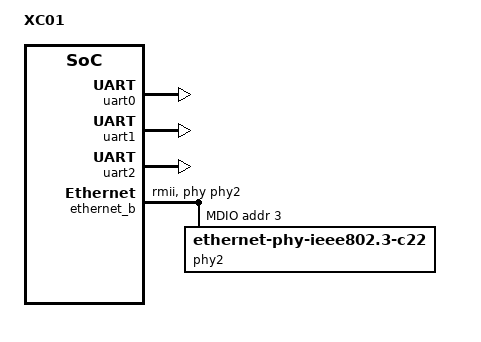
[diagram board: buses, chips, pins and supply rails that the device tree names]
/*
 * molchip
 *
 * Cortex-A7 MPCore
 *
 * HBI-0225B
 */

#include <dt-bindings/interrupt-controller/arm-gic.h>
#include <dt-bindings/clock/xc-clock.h>
#include <dt-bindings/input/input.h>
#include <dt-bindings/pinctrl/mcxc01-pinfunc.h>
#include <dt-bindings/pinctrl/mcxcxx.h>
//#include <dt-bindings/reset/xc01-reset.h>
//#include <dt-bindings/dma/molchip,xc01-dma.h>
#include <dt-bindings/net/molchip-ephy.h>

/ {
	model = "XC01";
	compatible = "arm,molchip,xc01", "arm,molchip";
	interrupt-parent = <&gic>;
	#address-cells = <1>;
	#size-cells = <1>;

	chosen {
		bootargs="earlycon console=ttyS0,115200";
		stdout-path = &uart0;
	};


	cpus {
		#address-cells = <1>;
		#size-cells = <0>;

		cpu@0 {
			device_type = "cpu";
			compatible = "arm,cortex-a7";
			reg = <0x100>;
		};

	};

	scu: scu@00200000 {
		compatible = "arm,cortex-a7-scu";
		reg = <0x00200000 0x100>;
	};

	timer {
		compatible = "arm,armv7-timer";
		interrupts = <1 13 0xf08>; //Secure Physical Timer event
			//<1 14 0xf08>,
			//<1 11 0xf08>,
			//<1 10 0xf08>;
		clock-frequency = <36000000>;
	};

	gic: interrupt-controller@00200000 {
		compatible = "arm,cortex-a7-gic", "arm,cortex-a9-gic";
		#interrupt-cells = <3>;
		#address-cells = <0>;
		interrupt-controller;
		reg = <0x00201000 0x1000>,
			<0x00202000 0x1000>;
	};


	uart0: uart@0x08F00000 {
		compatible = "mol,uart";
		interrupts = <GIC_SPI 20 IRQ_TYPE_LEVEL_HIGH>;
		/*clock-names = "uart_clk",
			"uart_apb_clk",
			"uart_apb_clk_mux";
		clocks = <&cpusys_gatemux CKG_UART0_EN>,
			<&cpusys_gatemux CKG_APB_UART0_EN>,
			<&cpusys_compostite CKG_MUX_UART0>;*/
		reg = <0x08F00000 0x1000>;

	};

	uart1: uart@0x09000000 {
		compatible = "mol,uart";
		interrupts = <GIC_SPI 21 IRQ_TYPE_LEVEL_HIGH>;
		/*clock-names = "uart_clk",
			"uart_apb_clk",
			"uart_apb_clk_mux";
		clocks = <&cpusys_gatemux CKG_UART1_EN>,
			<&cpusys_gatemux CKG_APB_UART1_EN>,
			<&cpusys_compostite CKG_MUX_UART1>;*/
		reg = <0x09000000 0x1000>;

	};

	uart2: uart@0x09100000 {
		compatible = "mol,uart";
		interrupts = <GIC_SPI 23 IRQ_TYPE_LEVEL_HIGH>;
		/*clock-names = "uart_clk",
			"uart_apb_clk",
			"uart_apb_clk_mux";
		clocks = <&topsys_gate CKG_UART2_EN>,
			<&topsys_gate CKG_APB_UART2_EN>,
			<&topsys_compostite CKG_MUX_UART2>;*/
		reg = <0x09100000 0x1000>;

	};

	cpu_sys_ahb: syscon@0c000000 {
                compatible = "syscon";
                reg = <0x0c000000 0x1000>;
    };

	ethernet_b: ethernet@0b400000 {
		/*
		clock-names = "gmac_clk_eb",
			"gmac_clk_csr", "apb_pclk" ,"tx_en", "rx_en", "rmii_en";
		clocks = <&ispsys CKG_AXI_GMAC1_EN>,
			<&ispsys CKG_APB_GMAC1_CSR_EN>,
			<&ispsys CKG_GMAC1_TX_EN>,
			<&ispsys CKG_GMAC1_RX_EN>,
			<&ispsys CKG_GMAC1_RMII_EN>,
			<&topsys_compostite CKG_MUX_GLB_APB_CFG>;
		*/
		compatible = "molchip,dwc-qos-ethernet-4.10";
		reg = <0x0b400000 0x4000>;

		interrupts = <GIC_SPI 8 IRQ_TYPE_LEVEL_HIGH>,
                             <GIC_SPI 43 IRQ_TYPE_LEVEL_HIGH>,
                             <GIC_SPI 44 IRQ_TYPE_LEVEL_HIGH>;

		interrupt-names = "sbdirq",
                                  "lpiirq",
                                  "pmtirq";

		mac-address = [ 04 a1 a2 a3 a4 a5 ];
		phy-mode = "rmii";
		phy-handle = <&phy2>;
		phy-type = <EXTERNAL_PHY>;
		snps,en-tx-lpi-clockgating;
		snps,en-lpi;
		snps,write-requests = <2>;
		snps,read-requests = <16>;
		snps,burst-map = <0x7>;
		snps,txpbl = <8>;
		snps,rxpbl = <2>;
		snps,axi-emac-en = <0xac>,<20>,<0x1>;
		snps,ephy-type-sel = <0x1dc>,<0>,<0x1>;
		snps,rmii-pad-sel =  <0x1d4>,<2>,<0x3>;
		snps,phy-intf-sel =  <0x1dc>,<13>,<0x7>;
		snps,ephy-ref-en =   <0x1fc>,<2>,<0x3>;
		snps,ephy-soft-reset = <0x1dc>,<4>,<0x1>;
		ctrl_id = <0x1>;
		platform = <HAPS_PLATFORM>;
		molchip,haps-apclk = <36000000>;
		molchip,syscon-ap-ahb = <&cpu_sys_ahb>;
		/*
		molchip,syscon-ap-apb = <&isp_sys_clk>;
		molchip,syscon-gl-apb = <&isp_sys_clk>;
		*/
		/* For Internal PHY(100T) */
		/*molchip,syscon-ana = <&ana>;*/
		status = "okay";

		mdio {
			#address-cells = <0x1>;
			#size-cells = <0x0>;

			phy2: phy@2 {
				compatible = "ethernet-phy-ieee802.3-c22";
				device_type = "ethernet-phy";
				reg = <0x3>;
			};
		};
	};

};
